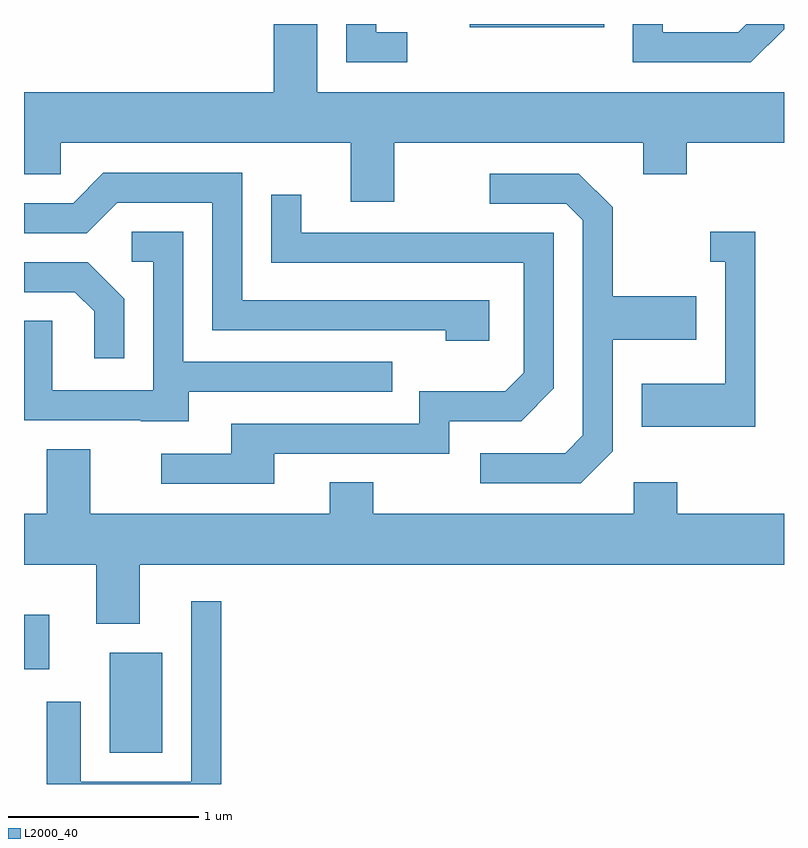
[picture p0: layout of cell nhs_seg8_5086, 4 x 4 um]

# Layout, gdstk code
import gdstk
lib = gdstk.Library(unit=1e-6, precision=1e-09)
def R(c, l, rs):  # rectangles x0, y0, x1, y1
    for r in rs: c.add(gdstk.rectangle(r[:2], r[2:], *l))
def P(c, l, *ps):  # polygons
    for p in ps: c.add(gdstk.Polygon(p, *l))
L2000_40 = (2000, 40)

nhs_seg8_5086 = lib.new_cell('nhs_seg8_5086')
R(nhs_seg8_5086, L2000_40, [(338.061,1866.506,338.339,1867.034), (337.611,1866.946,337.744,1867.234), (339.956,1870.326,340.664,1870.342)])
P(nhs_seg8_5086, L2000_40, [(341.611,1870.315),(341.611,1870.342),(341.412,1870.342),(341.369,1870.299),(340.974,1870.299),(340.974,1870.342),(340.816,1870.342),(340.816,1870.141),(341.437,1870.141)],
  [(339.628,1870.299),(339.464,1870.299),(339.464,1870.342),(339.306,1870.342),(339.306,1870.141),(339.628,1870.141)],
  [(339.559,1869.716),(340.871,1869.716),(340.871,1869.551),(341.099,1869.551),(341.099,1869.716),(341.611,1869.716),(341.611,1869.984),(339.154,1869.984),(339.154,1870.342),(338.926,1870.342),(338.926,1869.984),(337.611,1869.984),(337.611,1869.551),(337.804,1869.551),(337.804,1869.716),(339.331,1869.716),(339.331,1869.406),(339.559,1869.406)],
  [(340.059,1868.889),(338.759,1868.889),(338.759,1869.559),(338.029,1869.559),(337.869,1869.399),(337.611,1869.399),(337.611,1869.241),(337.942,1869.241),(338.102,1869.401),(338.601,1869.401),(338.601,1868.731),(339.831,1868.731),(339.831,1868.676),(340.059,1868.676)],
  [(340.709,1868.094),(340.709,1868.681),(341.149,1868.681),(341.149,1868.909),(340.709,1868.909),(340.709,1869.377),(340.532,1869.554),(340.063,1869.554),(340.063,1869.396),(340.464,1869.396),(340.551,1869.309),(340.551,1868.177),(340.459,1868.084),(340.013,1868.084),(340.013,1867.926),(340.542,1867.926)],
  [(338.929,1868.081),(339.849,1868.081),(339.849,1868.251),(340.227,1868.251),(340.399,1868.424),(340.399,1869.244),(339.069,1869.244),(339.069,1869.443),(338.911,1869.443),(338.911,1869.086),(340.241,1869.086),(340.241,1868.507),(340.144,1868.409),(339.691,1868.409),(339.691,1868.239),(338.701,1868.239),(338.701,1868.079),(338.333,1868.079),(338.333,1867.921),(338.929,1867.921)],
  [(341.459,1869.249),(341.223,1869.249),(341.223,1869.091),(341.301,1869.091),(341.301,1868.449),(340.861,1868.449),(340.861,1868.221),(341.459,1868.221)],
  [(338.479,1868.406),(339.548,1868.406),(339.548,1868.564),(338.449,1868.564),(338.449,1869.249),(338.178,1869.249),(338.178,1869.091),(338.291,1869.091),(338.291,1868.414),(337.759,1868.414),(337.759,1868.779),(337.611,1868.779),(337.611,1868.256),(338.225,1868.256),(338.225,1868.251),(338.479,1868.251)],
  [(338.139,1868.897),(337.947,1869.089),(337.611,1869.089),(337.611,1868.931),(337.879,1868.931),(337.981,1868.829),(337.981,1868.583),(338.139,1868.583)],
  [(338.219,1867.496),(341.611,1867.496),(341.611,1867.764),(341.049,1867.764),(341.049,1867.929),(340.821,1867.929),(340.821,1867.764),(339.449,1867.764),(339.449,1867.929),(339.221,1867.929),(339.221,1867.764),(337.959,1867.764),(337.959,1868.104),(337.731,1868.104),(337.731,1867.764),(337.611,1867.764),(337.611,1867.496),(337.991,1867.496),(337.991,1867.186),(338.219,1867.186)],
  [(338.649,1867.303),(338.491,1867.303),(338.491,1866.354),(337.909,1866.354),(337.909,1866.774),(337.731,1866.774),(337.731,1866.342),(338.649,1866.342)])

lib.write_gds('nhs_seg8_5086.gds')
